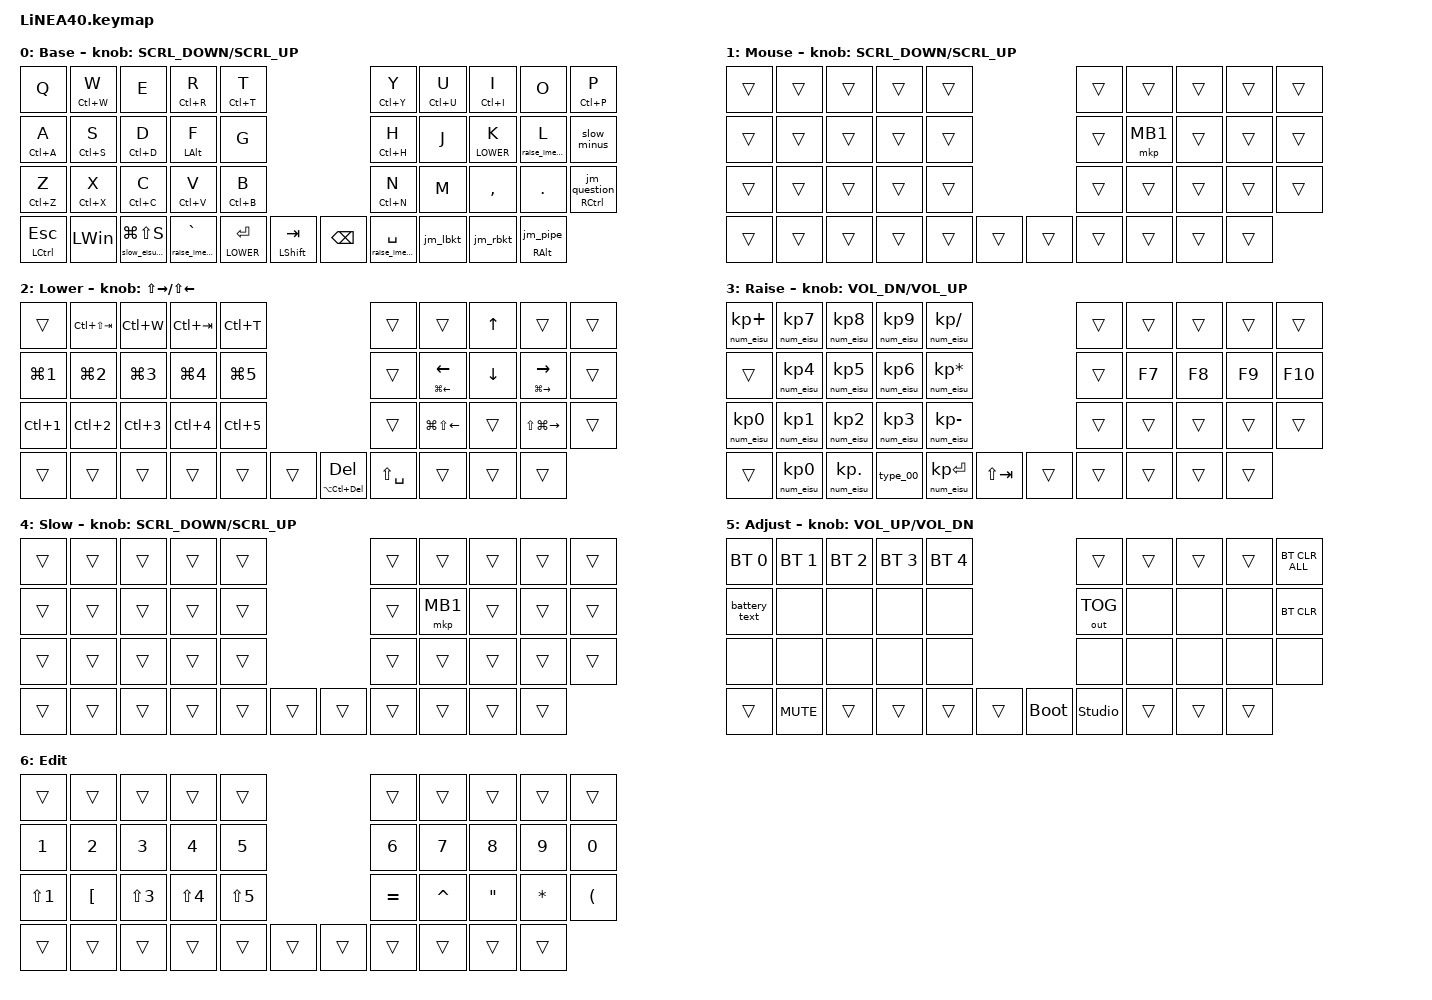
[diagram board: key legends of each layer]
#define ZMK_POINTING_DEFAULT_SCRL_VAL 100

#include <dt-bindings/zmk/input_transform.h>
#include <input/processors.dtsi>
#include <zephyr/dt-bindings/input/input-event-codes.h>
#include <dt-bindings/zmk/modifiers.h>
#include <behaviors/rgbled_widget.dtsi>
#include <mouse-gesture.dtsi>
#include <behaviors.dtsi>
#include <dt-bindings/zmk/bt.h>
#include <dt-bindings/zmk/keys.h>
#include <dt-bindings/zmk/outputs.h>
#include <dt-bindings/zmk/pointing.h>

#define BASE   0
#define MOUSE  1
#define LOWER  2
#define RAISE  3
#define SLOW   4
#define ADJUST 5
#define EDIT   6

// US symbols on a Japanese keyboard layout.

#define JP_AT        LEFT_BRACKET
#define JP_CARET     EQUAL
#define JP_AMPERSAND CARET
#define JP_ASTERISK  DOUBLE_QUOTES
#define JP_DQUOTE    AT
#define JP_EQUAL     UNDER
#define JP_PLUS      COLON
#define JP_TILDE     PLUS
#define JP_PIPE      LS(INTERNATIONAL_3)
#define JP_COLON     SINGLE_QUOTE
#define JP_QUOTE     AMPERSAND
#define JP_BACKQUOTE LEFT_BRACE
#define JP_BSLASH    INTERNATIONAL_1
#define JP_UNDERSCORE LS(INTERNATIONAL_1)
#define JP_LBRACKET  RIGHT_BRACKET
#define JP_RBRACKET  BACKSLASH
#define JP_LPAREN    ASTERISK
#define JP_RPAREN    LEFT_PARENTHESIS
#define JP_LBRACE    RIGHT_BRACE
#define JP_RBRACE    PIPE
#define JP_KANA      LANGUAGE_1
#define JP_EISU      LANGUAGE_2

//mouse cursol

&mmv {
    delay-ms = <20>;
    trigger-period-ms = <5>;
    time-to-max-speed-ms = <100>;
    acceleration-exponent = <2>;
};

//mouse scroll

&msc {
    delay-ms = <3>;
    trigger-period-ms = <3>;
    time-to-max-speed-ms = <100>;
    acceleration-exponent = <0>;
};

&mt {
    tapping-term-ms = <200>;
    flavor = "tap-preferred";
    quick-tap-ms = <175>;
};

&lt {
    tapping-term-ms = <200>;
    flavor = "tap-preferred";
};

/ {
    mouse_temp_layer: mouse_temp_layer {
        compatible = "zmk,input-processor-temp-layer";
        #input-processor-cells = <2>;
        require-prior-idle-ms = <300>;
        excluded-positions = <16>;
    };
};

&trackball_listener {
    input-processors = <&zip_mouse_gesture &mouse_temp_layer MOUSE 500>;

    slow_cursor {
        layers = <SLOW>;
        input-processors = <&zip_xy_scaler 1 2>;
    };
};

&zip_mouse_gesture {
    stroke-size = <100>;
    enable-eager-mode;

    win1 {
        pattern = <GESTURE_LEFT>;
        bindings = <&kp LG(N1)>;
    };

    win2 {
        pattern = <GESTURE_UP>;
        bindings = <&kp LG(N2)>;
    };

    win3 {
        pattern = <GESTURE_DOWN>;
        bindings = <&kp LG(N3)>;
    };

    win4 {
        pattern = <GESTURE_RIGHT>;
        bindings = <&kp LG(N4)>;
    };
};

/ {
    combos {
        compatible = "zmk,combos";

        ZenkakuHankakuEdit {
            timeout-ms = <50>;
            bindings = <&edit_ime EDIT GRAVE>;
            key-positions = <34 37>;
        };

        CenterClick {
            bindings = <&mkp MB3>;
            key-positions = <7 8>;
        };

        RightClick {
            bindings = <&mkp MB2>;
            key-positions = <18 17>;
        };

        PrevClick {
            bindings = <&mkp MB4>;
            key-positions = <27 26>;
        };

        ClickNext {
            bindings = <&mkp MB5>;
            key-positions = <27 28>;
        };

        colon {
            timeout-ms = <50>;
            bindings = <&jm_colon>;
            key-positions = <28 29>;
        };

        quote {
            timeout-ms = <50>;
            bindings = <&jm_quote>;
            key-positions = <39 40>;
        };

        tilde {
            timeout-ms = <50>;
            bindings = <&jm_tilde>;
            key-positions = <18 19>;
        };

        plus {
            timeout-ms = <50>;
            bindings = <&jm_plus>;
            key-positions = <8 9>;
        };

        left_parenthesis {
            timeout-ms = <50>;
            bindings = <&kp JP_LPAREN>;
            key-positions = <2 3>;
        };

        right_parenthesis {
            timeout-ms = <50>;
            bindings = <&kp JP_RPAREN>;
            key-positions = <6 7>;
        };

        parenthesis_pair {
            timeout-ms = <50>;
            bindings = <&type_parens>;
            key-positions = <2 3 6 7>;
        };

        bracket_pair {
            timeout-ms = <50>;
            bindings = <&type_brackets>;
            key-positions = <38 39>;
        };

        f2 {
            bindings = <&macro_f2_kana>;
            key-positions = <13 12>;
        };

        double_left_click {
            timeout-ms = <50>;
            bindings = <&double_lclick>;
            key-positions = <16 17>;
        };

        shift_right_click {
            timeout-ms = <50>;
            bindings = <&shift_rclick>;
            key-positions = <16 17 18>;
        };

        ctrl_left_click {
            timeout-ms = <50>;
            bindings = <&ctrl_lclick>;
            key-positions = <16 18>;
        };

        mouse_gesture {
            timeout-ms = <50>;
            bindings = <&mouse_gesture>;
            key-positions = <18 19>;
        };

        parens_fj {
            timeout-ms = <50>;
            bindings = <&type_parens>;
            key-positions = <13 16>;
        };

        new_folder {
            timeout-ms = <50>;
            bindings = <&kp LS(LC(N))>;
            key-positions = <11 12>;
        };

        exclamation_aenter {
            timeout-ms = <50>;
            bindings = <&kp LS(N1)>;
            key-positions = <10 34>;
        };

        at_senter {
            timeout-ms = <50>;
            bindings = <&kp JP_AT>;
            key-positions = <11 34>;
        };

        ab3233921 {
            timeout-ms = <50>;
            bindings = <&type_ab3233921>;
            key-positions = <10 24>;
        };

        alt+f4 {
            bindings = <&kp LA(F4)>;
            key-positions = <12 13 34>;
        };

        win+d {
            bindings = <&kp LG(D)>;
            key-positions = <12 34>;
        };

        task_viewer {
            bindings = <&kp LG(TAB)>;
            key-positions = <13 34>; // F + Enter
        };

        alt+tab {
            bindings = <&kp LA(TAB)>;
            key-positions = <13 35>;
        };

        adjust_layer {
            timeout-ms = <200>;
            slow-release;
            bindings = <&mo ADJUST>;
            key-positions = <35 36>;
        };

        alt+f4_right {
            bindings = <&kp LA(F4)>;
            key-positions = <16 17 37>;
        };

        alt+tab_right {
            bindings = <&kp LA(TAB)>;
            key-positions = <16 36>;
        };

        task {
            bindings = <&kp LG(TAB)>;
            key-positions = <16 37>;
        };

        win+d_right {
            bindings = <&kp LG(D)>;
            key-positions = <17 37>;
        };
    };

    behaviors {
        battery_text: battery_text {
            compatible = "zmk,behavior-battery-text";
            #binding-cells = <0>;
            display-name = "Battery Text";
        };

        re_kp: sensor_rotate_kp {
            compatible = "zmk,behavior-sensor-rotate-var";
            #sensor-binding-cells = <2>;
            bindings = <&kp>, <&kp>;
        };

        mouse_scrl: mouse_wheel_scrl {
            compatible = "zmk,behavior-sensor-rotate-var";
            #sensor-binding-cells = <2>;
            bindings = <&msc>, <&msc>;

            tap-ms = <20>;
        };

        numht: number_function_hold_tap {
            compatible = "zmk,behavior-hold-tap";
            #binding-cells = <2>;
            flavor = "balanced";
            tapping-term-ms = <200>;
            quick-tap-ms = <200>;
            bindings = <&kp>, <&kp>;
        };

        jm_n2: japanese_number_2 {
            compatible = "zmk,behavior-mod-morph";
            #binding-cells = <0>;
            bindings = <&numht F2 N2>, <&kp JP_AT>;

            mods = <(MOD_LSFT | MOD_RSFT)>;
        };

        jm_n6: japanese_number_6 {
            compatible = "zmk,behavior-mod-morph";
            #binding-cells = <0>;
            bindings = <&numht F6 N6>, <&kp JP_CARET>;

            mods = <(MOD_LSFT | MOD_RSFT)>;
        };

        jm_n7: japanese_number_7 {
            compatible = "zmk,behavior-mod-morph";
            #binding-cells = <0>;
            bindings = <&numht F7 N7>, <&kp JP_AMPERSAND>;

            mods = <(MOD_LSFT | MOD_RSFT)>;
        };

        jm_n8: japanese_number_8 {
            compatible = "zmk,behavior-mod-morph";
            #binding-cells = <0>;
            bindings = <&numht F8 N8>, <&kp JP_ASTERISK>;

            mods = <(MOD_LSFT | MOD_RSFT)>;
        };

        jm_n9: japanese_number_9 {
            compatible = "zmk,behavior-mod-morph";
            #binding-cells = <0>;
            bindings = <&numht F9 N9>, <&kp JP_LPAREN>;

            mods = <(MOD_LSFT | MOD_RSFT)>;
        };

        jm_n0: japanese_number_0 {
            compatible = "zmk,behavior-mod-morph";
            #binding-cells = <0>;
            bindings = <&numht F10 N0>, <&kp JP_RPAREN>;

            mods = <(MOD_LSFT | MOD_RSFT)>;
        };

        jm_minus: japanese_minus {
            compatible = "zmk,behavior-mod-morph";
            #binding-cells = <0>;
            bindings = <&kp MINUS>, <&kp INTERNATIONAL_1>;

            mods = <(MOD_LSFT | MOD_RSFT)>;
            keep-mods = <(MOD_LSFT | MOD_RSFT)>;
        };

        jm_lbkt: japanese_left_bracket {
            compatible = "zmk,behavior-mod-morph";
            #binding-cells = <0>;
            bindings = <&kp JP_LBRACKET>, <&kp JP_LBRACE>;

            mods = <(MOD_LSFT | MOD_RSFT)>;
        };

        jm_rbkt: japanese_right_bracket {
            compatible = "zmk,behavior-mod-morph";
            #binding-cells = <0>;
            bindings = <&kp JP_RBRACKET>, <&kp JP_RBRACE>;

            mods = <(MOD_LSFT | MOD_RSFT)>;
        };

        jm_plus: japanese_plus {
            compatible = "zmk,behavior-mod-morph";
            #binding-cells = <0>;
            bindings = <&kp JP_PLUS>, <&kp JP_EQUAL>;

            mods = <(MOD_LSFT | MOD_RSFT)>;
        };

        jm_tilde: japanese_tilde {
            compatible = "zmk,behavior-mod-morph";
            #binding-cells = <0>;
            bindings = <&kp JP_TILDE>, <&kp JP_BACKQUOTE>;

            mods = <(MOD_LSFT | MOD_RSFT)>;
        };

        jm_colon: japanese_colon {
            compatible = "zmk,behavior-mod-morph";
            #binding-cells = <0>;
            bindings = <&kp SEMICOLON>, <&kp JP_COLON>;

            mods = <(MOD_LSFT | MOD_RSFT)>;
        };

        jm_quote: japanese_quote {
            compatible = "zmk,behavior-mod-morph";
            #binding-cells = <0>;
            bindings = <&kp JP_QUOTE>, <&kp JP_DQUOTE>;

            mods = <(MOD_LSFT | MOD_RSFT)>;
        };

        jm_question: japanese_question {
            compatible = "zmk,behavior-mod-morph";
            #binding-cells = <0>;
            bindings = <&kp SLASH>, <&kp QUESTION>;

            mods = <(MOD_LSFT | MOD_RSFT)>;
        };

        edit_ime: edit_ime {
            compatible = "zmk,behavior-hold-tap";
            #binding-cells = <2>;
            flavor = "tap-preferred";
            tapping-term-ms = <200>;
            bindings = <&mo>, <&kp>;
        };

        jm_pipe: japanese_pipe {
            compatible = "zmk,behavior-mod-morph";
            #binding-cells = <0>;
            bindings = <&kp JP_PIPE>, <&kp JP_BSLASH>;

            mods = <(MOD_LSFT | MOD_RSFT)>;
        };

        minus_lt: japanese_minus_layer_tap {
            compatible = "zmk,behavior-hold-tap";
            #binding-cells = <2>;
            flavor = "tap-preferred";
            tapping-term-ms = <200>;
            bindings = <&mo>, <&jm_minus>;
        };

        lbkt_lt: japanese_left_bracket_layer_tap {
            compatible = "zmk,behavior-hold-tap";
            #binding-cells = <2>;
            flavor = "tap-preferred";
            tapping-term-ms = <200>;
            bindings = <&mo>, <&jm_lbkt>;
        };

        question_mt: japanese_question_mod_tap {
            compatible = "zmk,behavior-hold-tap";
            #binding-cells = <2>;
            flavor = "tap-preferred";
            tapping-term-ms = <200>;
            quick-tap-ms = <175>;
            bindings = <&kp>, <&jm_question>;
        };

        pipe_mt: japanese_pipe_mod_tap {
            compatible = "zmk,behavior-hold-tap";
            #binding-cells = <2>;
            flavor = "tap-preferred";
            tapping-term-ms = <200>;
            bindings = <&kp>, <&jm_pipe>;
        };

        raise_ime: raise_ime {
            compatible = "zmk,behavior-hold-tap";
            #binding-cells = <2>;
            flavor = "tap-preferred";
            tapping-term-ms = <200>;
            quick-tap-ms = <175>;
            bindings = <&raise_ime_hold>, <&kp>;
        };

        slow_eisu_tap: slow_eisu_tap {
            compatible = "zmk,behavior-hold-tap";
            #binding-cells = <2>;
            flavor = "tap-preferred";
            tapping-term-ms = <200>;
            quick-tap-ms = <175>;
            bindings = <&slow_eisu_hold>, <&kp>;
        };

        slow_minus_base: slow_minus_base {
            compatible = "zmk,behavior-hold-tap";
            #binding-cells = <2>;
            flavor = "tap-preferred";
            tapping-term-ms = <200>;
            quick-tap-ms = <175>;
            bindings = <&slow_eisu_hold>, <&kp>;
        };

        slow_minus: slow_minus {
            compatible = "zmk,behavior-mod-morph";
            #binding-cells = <0>;
            bindings = <&slow_minus_base 0 MINUS>, <&kp INTERNATIONAL_1>;

            mods = <(MOD_LSFT | MOD_RSFT)>;
            keep-mods = <(MOD_LSFT | MOD_RSFT)>;
        };
    };

    macros {
        double_lclick: double_lclick {
            compatible = "zmk,behavior-macro";
            #binding-cells = <0>;
            wait-ms = <30>;
            tap-ms = <30>;
            bindings = <&macro_tap>, <&mkp MB1 &mkp MB1>;
        };

        shift_rclick: shift_rclick {
            compatible = "zmk,behavior-macro";
            #binding-cells = <0>;
            bindings =
                <&macro_press>,
                <&kp LSHFT>,
                <&macro_tap>,
                <&mkp MB2>,
                <&macro_release>,
                <&kp LSHFT>;
        };

        type_parens: type_parens {
            compatible = "zmk,behavior-macro";
            #binding-cells = <0>;
            wait-ms = <10>;
            tap-ms = <10>;
            bindings =
                <&macro_tap>,
                <&kp JP_KANA &kp JP_LPAREN &kp JP_RPAREN &kp ENTER &kp LEFT>;
        };

        type_brackets: type_brackets {
            compatible = "zmk,behavior-macro";
            #binding-cells = <0>;
            wait-ms = <10>;
            tap-ms = <10>;
            bindings =
                <&macro_tap>,
                <&kp JP_KANA &kp JP_LBRACKET &kp JP_RBRACKET &kp ENTER &kp LEFT>;
        };

        type_00: type_00 {
            compatible = "zmk,behavior-macro";
            #binding-cells = <0>;
            wait-ms = <10>;
            tap-ms = <10>;
            bindings =
                <&macro_tap>,
                <&kp JP_EISU &kp KP_NUMBER_0 &kp KP_NUMBER_0>;
        };

        num_eisu: num_eisu {
            compatible = "zmk,behavior-macro-one-param";
            #binding-cells = <1>;
            wait-ms = <10>;
            tap-ms = <10>;
            bindings =
                <&macro_tap>,
                <&kp JP_EISU &macro_param_1to1>,
                <&macro_tap>,
                <&kp MACRO_PLACEHOLDER>;
        };

        ctrl_lclick: ctrl_lclick {
            compatible = "zmk,behavior-macro";
            #binding-cells = <0>;
            bindings =
                <&macro_press>,
                <&kp LCTRL>,
                <&macro_tap>,
                <&mkp MB1>,
                <&macro_release>,
                <&kp LCTRL>;
        };

        macro_f2_kana: macro_f2_kana {
            compatible = "zmk,behavior-macro";
            #binding-cells = <0>;
            wait-ms = <10>;
            tap-ms = <10>;
            bindings = <&macro_tap>, <&kp F2 &kp JP_KANA>;
        };

        type_ab3233921: type_ab3233921 {
            compatible = "zmk,behavior-macro";
            #binding-cells = <0>;
            wait-ms = <10>;
            tap-ms = <10>;
            bindings =
                <&macro_tap>,
                <&kp JP_EISU &kp A &kp B &kp N3 &kp N2 &kp N3 &kp N3 &kp N9 &kp N2 &kp N1>;
        };

        raise_ime_hold: raise_ime_hold {
            compatible = "zmk,behavior-macro";
            #binding-cells = <0>;
            wait-ms = <10>;
            tap-ms = <10>;
            bindings =
                <&macro_press>,
                <&mo RAISE>,
                <&macro_pause_for_release>,
                <&macro_release>,
                <&mo RAISE>,
                <&macro_tap>,
                <&kp JP_KANA>;
        };

        slow_eisu_hold: slow_eisu_hold {
            compatible = "zmk,behavior-macro";
            #binding-cells = <0>;
            wait-ms = <10>;
            tap-ms = <10>;
            bindings =
                <&macro_press>,
                <&mo SLOW>,
                <&macro_pause_for_release>,
                <&macro_release>,
                <&mo SLOW>,
                <&macro_tap>,
                <&kp JP_EISU>;
        };
    };

    keymap {
        compatible = "zmk,keymap";

        base_layer {
            display-name = "Base";
            bindings = <
&kp Q          &mt LC(W) W   &kp E                       &mt LC(R) R         &mt LC(T) T                                           &mt LC(Y) Y         &mt LC(U) U  &mt LC(I) I  &kp O           &mt LC(P) P
&mt LC(A) A    &mt LC(S) S   &mt LC(D) D                 &mt LEFT_ALT F      &kp G                                                 &mt LC(H) H         &kp J        &lt LOWER K  &raise_ime 0 L  &slow_minus
&mt LC(Z) Z    &mt LC(X) X   &mt LC(C) C                 &mt LC(V) V         &mt LC(B) B                                           &mt LC(N) N         &kp M        &kp COMMA    &kp DOT         &question_mt RCTRL 0
&mt LCTRL ESC  &kp LEFT_WIN  &slow_eisu_tap 0 LG(LS(S))  &raise_ime 0 GRAVE  &lt LOWER ENTER  &mt LEFT_SHIFT TAB    &kp BACKSPACE  &raise_ime 0 SPACE               &jm_lbkt     &jm_rbkt        &pipe_mt RIGHT_ALT 0
            >;

            sensor-bindings = <&mouse_scrl SCRL_DOWN SCRL_UP>;
        };

        //1

        mouse_layer {
            display-name = "Mouse";
            bindings = <
&trans  &trans  &trans  &trans  &trans                    &trans  &trans    &trans  &trans  &trans
&trans  &trans  &trans  &trans  &trans                    &trans  &mkp MB1  &trans  &trans  &trans
&trans  &trans  &trans  &trans  &trans                    &trans  &trans    &trans  &trans  &trans
&trans  &trans  &trans  &trans  &trans  &trans    &trans  &trans            &trans  &trans  &trans
            >;

            sensor-bindings = <&mouse_scrl SCRL_DOWN SCRL_UP>;
        };

        //2

        lower_layer {
            display-name = "Lower";
            bindings = <
&trans      &kp LC(LS(TAB))  &kp LC(W)   &kp LC(TAB)  &kp LC(T)                                        &trans         &trans             &kp UP    &trans               &trans
&kp LG(N1)  &kp LG(N2)       &kp LG(N3)  &kp LG(N4)   &kp LG(N5)                                       &trans         &mt LG(LEFT) LEFT  &kp DOWN  &mt LG(RIGHT) RIGHT  &trans
&kp LC(N1)  &kp LC(N2)       &kp LC(N3)  &kp LC(N4)   &kp LC(N5)                                       &trans         &kp LG(LS(LEFT))   &trans    &kp LS(LG(RIGHT))    &trans
&trans      &trans           &trans      &trans       &trans      &trans    &mt LA(LC(DELETE)) DELETE  &kp LS(SPACE)                     &trans    &trans               &trans
            >;

            sensor-bindings = <&re_kp LS(RIGHT) LS(LEFT)>;
        };

        //3

        raise_layer {
            display-name = "Raise";
            bindings = <
&num_eisu KP_PLUS      &num_eisu KP_NUMBER_7  &num_eisu KP_NUMBER_8  &num_eisu KP_NUMBER_9  &num_eisu KP_SLASH                            &trans  &trans  &trans  &trans  &trans
&trans                 &num_eisu KP_NUMBER_4  &num_eisu KP_NUMBER_5  &num_eisu KP_NUMBER_6  &num_eisu KP_MULTIPLY                         &trans  &kp F7  &kp F8  &kp F9  &kp F10
&num_eisu KP_NUMBER_0  &num_eisu KP_NUMBER_1  &num_eisu KP_NUMBER_2  &num_eisu KP_NUMBER_3  &num_eisu KP_MINUS                            &trans  &trans  &trans  &trans  &trans
&trans                 &num_eisu KP_NUMBER_0  &num_eisu KP_DOT       &type_00               &num_eisu KP_ENTER     &kp LS(TAB)    &trans  &trans          &trans  &trans  &trans
            >;

            sensor-bindings = <&re_kp C_VOL_DN C_VOL_UP>;
        };

        //4

        slow_layer {
            display-name = "Slow";
            bindings = <
&trans  &trans  &trans  &trans  &trans                    &trans  &trans    &trans  &trans  &trans
&trans  &trans  &trans  &trans  &trans                    &trans  &mkp MB1  &trans  &trans  &trans
&trans  &trans  &trans  &trans  &trans                    &trans  &trans    &trans  &trans  &trans
&trans  &trans  &trans  &trans  &trans  &trans    &trans  &trans            &trans  &trans  &trans
            >;

            sensor-bindings = <&mouse_scrl SCRL_DOWN SCRL_UP>;
        };

        //5

        adjust_layer {
            display-name = "Adjust";
            bindings = <
&bt BT_SEL 0   &bt BT_SEL 1  &bt BT_SEL 2  &bt BT_SEL 3  &bt BT_SEL 4                         &trans          &trans  &trans  &trans  &bt BT_CLR_ALL
&battery_text  &none         &none         &none         &none                                &out OUT_TOG    &none   &none   &none   &bt BT_CLR
&none          &none         &none         &none         &none                                &none           &none   &none   &none   &none
&trans         &kp C_MUTE    &trans        &trans        &trans        &trans    &bootloader  &studio_unlock          &trans  &trans  &trans
            >;

            sensor-bindings = <&re_kp C_VOL_UP C_VOL_DN>;
        };

        //6

        edit_layer {
            display-name = "Edit";
            bindings = <
&trans      &trans     &trans      &trans      &trans                        &trans        &trans            &trans           &trans         &trans
&kp N1      &kp N2     &kp N3      &kp N4      &kp N5                        &kp N6        &kp N7            &kp N8           &kp N9         &kp N0
&kp LS(N1)  &kp JP_AT  &kp LS(N3)  &kp LS(N4)  &kp LS(N5)                    &kp JP_CARET  &kp JP_AMPERSAND  &kp JP_ASTERISK  &kp JP_LPAREN  &kp JP_RPAREN
&trans      &trans     &trans      &trans      &trans      &trans    &trans  &trans                          &trans           &trans         &trans
            >;
        };
    };
};
